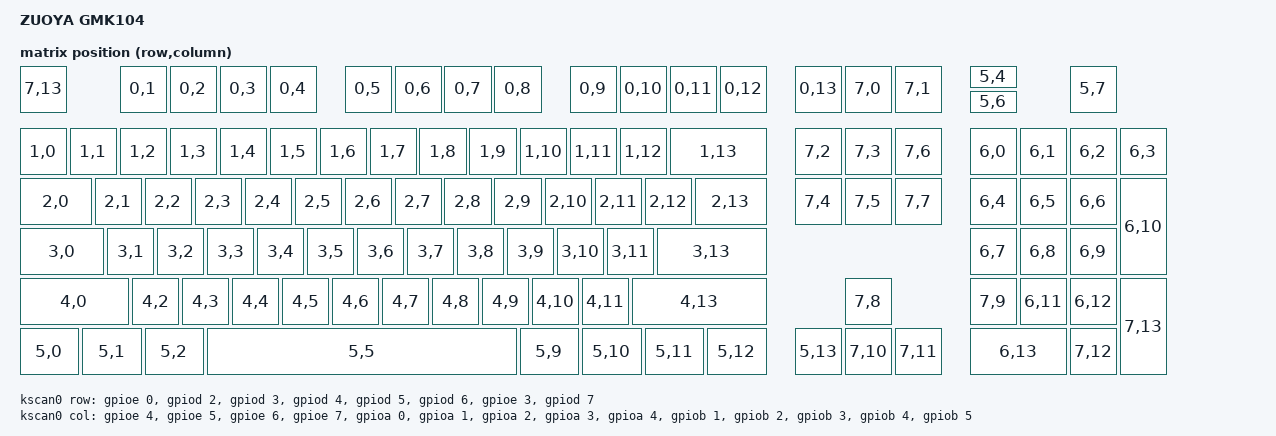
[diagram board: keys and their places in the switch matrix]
/dts-v1/;

/*
 * ZUOYA GMK104 — Telink TLSR9511 (B91) — ZMK board skeleton  [DRAFT / UNVERIFIED]
 *
 * Generated from ZUOYA-GMK104-USB.json by tools/gen_board.py. This reuses the
 * Evision/B91 platform wiring proven on scholzri/rainy75-zmk (Apache-2.0). Build
 * it inside a fork of rainy75-zmk that provides the B91 drivers, open BLE
 * controller, telink HAL + patches, and the rainy_rgb engine.
 *
 *   VERIFIED  : matrix transform + physical layout (from the VIA definition),
 *               column GPIOs (Evision platform constant), all 8 ROW GPIOs
 *               (confirmed in the stock firmware disassembly), SoC/flash/USB/BLE.
 *   TODO/PROBE: the RGB chain-length, and the duplicated matrix cell RC(7,13)
 *               (see keymap). See BOARD-README.md.
 */

#include <freq.h>
#include <telink/telink_b91.dtsi>
#include <zephyr/dt-bindings/gpio/gpio.h>
#include <dt-bindings/zmk/matrix_transform.h>
#include <dt-bindings/led/led.h>
#include <physical_layouts.dtsi>

/ {
	model = "ZUOYA GMK104";
	compatible = "zuoya,gmk104";

	aliases { watchdog0 = &wdt0; };

	chosen {
		zephyr,sram = &ram_dlm;
		zephyr,flash = &flash;
		zephyr,flash-controller = &flash_mspi;
		zephyr,code-partition = &slot0_partition;
		zephyr,bt-hci = &bt_hci;
		zmk,battery = &battery;
		zmk,underglow = &led_strip;
		zmk,kscan = &kscan0;
		zmk,physical-layout = &gmk104_layout;
	};

	bt_hci: bt_hci { compatible = "telink,b91-bt-hci"; status = "okay"; };

	default_transform: keymap_transform_0 {
		compatible = "zmk,matrix-transform";
		columns = <14>;
		rows = <8>;
		/* physical order; RC(r,c) = electrical matrix cell from the VIA definition */
		map = <
			RC(7,13) RC(0,1) RC(0,2) RC(0,3) RC(0,4) RC(0,5) RC(0,6) RC(0,7) RC(0,8) RC(0,9) RC(0,10) RC(0,11) RC(0,12) RC(0,13) RC(7,0) RC(7,1) RC(5,4) RC(5,7)
			RC(5,6)
			RC(1,0) RC(1,1) RC(1,2) RC(1,3) RC(1,4) RC(1,5) RC(1,6) RC(1,7) RC(1,8) RC(1,9) RC(1,10) RC(1,11) RC(1,12) RC(1,13) RC(7,2) RC(7,3) RC(7,6) RC(6,0) RC(6,1) RC(6,2) RC(6,3)
			RC(2,0) RC(2,1) RC(2,2) RC(2,3) RC(2,4) RC(2,5) RC(2,6) RC(2,7) RC(2,8) RC(2,9) RC(2,10) RC(2,11) RC(2,12) RC(2,13) RC(7,4) RC(7,5) RC(7,7) RC(6,4) RC(6,5) RC(6,6) RC(6,10)
			RC(3,0) RC(3,1) RC(3,2) RC(3,3) RC(3,4) RC(3,5) RC(3,6) RC(3,7) RC(3,8) RC(3,9) RC(3,10) RC(3,11) RC(3,13) RC(6,7) RC(6,8) RC(6,9)
			RC(4,0) RC(4,2) RC(4,3) RC(4,4) RC(4,5) RC(4,6) RC(4,7) RC(4,8) RC(4,9) RC(4,10) RC(4,11) RC(4,13) RC(7,8) RC(7,9) RC(6,11) RC(6,12) RC(7,13)
			RC(5,0) RC(5,1) RC(5,2) RC(5,5) RC(5,9) RC(5,10) RC(5,11) RC(5,12) RC(5,13) RC(7,10) RC(7,11) RC(6,13) RC(7,12)
		>;
	};

	gmk104_layout: gmk104_layout {
		compatible = "zmk,physical-layout";
		display-name = "ZUOYA GMK104";
		transform = <&default_transform>;

		keys  //                     w   h    x    y     rot    rx    ry
		    = <&key_physical_attrs  100  100     0     0       0     0     0>  /* RC(7,13) */
		    , <&key_physical_attrs  100  100   200     0       0     0     0>  /* RC(0,1) */
		    , <&key_physical_attrs  100  100   300     0       0     0     0>  /* RC(0,2) */
		    , <&key_physical_attrs  100  100   400     0       0     0     0>  /* RC(0,3) */
		    , <&key_physical_attrs  100  100   500     0       0     0     0>  /* RC(0,4) */
		    , <&key_physical_attrs  100  100   650     0       0     0     0>  /* RC(0,5) */
		    , <&key_physical_attrs  100  100   750     0       0     0     0>  /* RC(0,6) */
		    , <&key_physical_attrs  100  100   850     0       0     0     0>  /* RC(0,7) */
		    , <&key_physical_attrs  100  100   950     0       0     0     0>  /* RC(0,8) */
		    , <&key_physical_attrs  100  100  1100     0       0     0     0>  /* RC(0,9) */
		    , <&key_physical_attrs  100  100  1200     0       0     0     0>  /* RC(0,10) */
		    , <&key_physical_attrs  100  100  1300     0       0     0     0>  /* RC(0,11) */
		    , <&key_physical_attrs  100  100  1400     0       0     0     0>  /* RC(0,12) */
		    , <&key_physical_attrs  100  100  1550     0       0     0     0>  /* RC(0,13) */
		    , <&key_physical_attrs  100  100  1650     0       0     0     0>  /* RC(7,0) */
		    , <&key_physical_attrs  100  100  1750     0       0     0     0>  /* RC(7,1) */
		    , <&key_physical_attrs  100   50  1900     0       0     0     0>  /* RC(5,4) */
		    , <&key_physical_attrs  100  100  2100     0       0     0     0>  /* RC(5,7) */
		    , <&key_physical_attrs  100   50  1900    50       0     0     0>  /* RC(5,6) */
		    , <&key_physical_attrs  100  100     0   125       0     0     0>  /* RC(1,0) */
		    , <&key_physical_attrs  100  100   100   125       0     0     0>  /* RC(1,1) */
		    , <&key_physical_attrs  100  100   200   125       0     0     0>  /* RC(1,2) */
		    , <&key_physical_attrs  100  100   300   125       0     0     0>  /* RC(1,3) */
		    , <&key_physical_attrs  100  100   400   125       0     0     0>  /* RC(1,4) */
		    , <&key_physical_attrs  100  100   500   125       0     0     0>  /* RC(1,5) */
		    , <&key_physical_attrs  100  100   600   125       0     0     0>  /* RC(1,6) */
		    , <&key_physical_attrs  100  100   700   125       0     0     0>  /* RC(1,7) */
		    , <&key_physical_attrs  100  100   800   125       0     0     0>  /* RC(1,8) */
		    , <&key_physical_attrs  100  100   900   125       0     0     0>  /* RC(1,9) */
		    , <&key_physical_attrs  100  100  1000   125       0     0     0>  /* RC(1,10) */
		    , <&key_physical_attrs  100  100  1100   125       0     0     0>  /* RC(1,11) */
		    , <&key_physical_attrs  100  100  1200   125       0     0     0>  /* RC(1,12) */
		    , <&key_physical_attrs  200  100  1300   125       0     0     0>  /* RC(1,13) */
		    , <&key_physical_attrs  100  100  1550   125       0     0     0>  /* RC(7,2) */
		    , <&key_physical_attrs  100  100  1650   125       0     0     0>  /* RC(7,3) */
		    , <&key_physical_attrs  100  100  1750   125       0     0     0>  /* RC(7,6) */
		    , <&key_physical_attrs  100  100  1900   125       0     0     0>  /* RC(6,0) */
		    , <&key_physical_attrs  100  100  2000   125       0     0     0>  /* RC(6,1) */
		    , <&key_physical_attrs  100  100  2100   125       0     0     0>  /* RC(6,2) */
		    , <&key_physical_attrs  100  100  2200   125       0     0     0>  /* RC(6,3) */
		    , <&key_physical_attrs  150  100     0   225       0     0     0>  /* RC(2,0) */
		    , <&key_physical_attrs  100  100   150   225       0     0     0>  /* RC(2,1) */
		    , <&key_physical_attrs  100  100   250   225       0     0     0>  /* RC(2,2) */
		    , <&key_physical_attrs  100  100   350   225       0     0     0>  /* RC(2,3) */
		    , <&key_physical_attrs  100  100   450   225       0     0     0>  /* RC(2,4) */
		    , <&key_physical_attrs  100  100   550   225       0     0     0>  /* RC(2,5) */
		    , <&key_physical_attrs  100  100   650   225       0     0     0>  /* RC(2,6) */
		    , <&key_physical_attrs  100  100   750   225       0     0     0>  /* RC(2,7) */
		    , <&key_physical_attrs  100  100   850   225       0     0     0>  /* RC(2,8) */
		    , <&key_physical_attrs  100  100   950   225       0     0     0>  /* RC(2,9) */
		    , <&key_physical_attrs  100  100  1050   225       0     0     0>  /* RC(2,10) */
		    , <&key_physical_attrs  100  100  1150   225       0     0     0>  /* RC(2,11) */
		    , <&key_physical_attrs  100  100  1250   225       0     0     0>  /* RC(2,12) */
		    , <&key_physical_attrs  150  100  1350   225       0     0     0>  /* RC(2,13) */
		    , <&key_physical_attrs  100  100  1550   225       0     0     0>  /* RC(7,4) */
		    , <&key_physical_attrs  100  100  1650   225       0     0     0>  /* RC(7,5) */
		    , <&key_physical_attrs  100  100  1750   225       0     0     0>  /* RC(7,7) */
		    , <&key_physical_attrs  100  100  1900   225       0     0     0>  /* RC(6,4) */
		    , <&key_physical_attrs  100  100  2000   225       0     0     0>  /* RC(6,5) */
		    , <&key_physical_attrs  100  100  2100   225       0     0     0>  /* RC(6,6) */
		    , <&key_physical_attrs  100  200  2200   225       0     0     0>  /* RC(6,10) */
		    , <&key_physical_attrs  175  100     0   325       0     0     0>  /* RC(3,0) */
		    , <&key_physical_attrs  100  100   175   325       0     0     0>  /* RC(3,1) */
		    , <&key_physical_attrs  100  100   275   325       0     0     0>  /* RC(3,2) */
		    , <&key_physical_attrs  100  100   375   325       0     0     0>  /* RC(3,3) */
		    , <&key_physical_attrs  100  100   475   325       0     0     0>  /* RC(3,4) */
		    , <&key_physical_attrs  100  100   575   325       0     0     0>  /* RC(3,5) */
		    , <&key_physical_attrs  100  100   675   325       0     0     0>  /* RC(3,6) */
		    , <&key_physical_attrs  100  100   775   325       0     0     0>  /* RC(3,7) */
		    , <&key_physical_attrs  100  100   875   325       0     0     0>  /* RC(3,8) */
		    , <&key_physical_attrs  100  100   975   325       0     0     0>  /* RC(3,9) */
		    , <&key_physical_attrs  100  100  1075   325       0     0     0>  /* RC(3,10) */
		    , <&key_physical_attrs  100  100  1175   325       0     0     0>  /* RC(3,11) */
		    , <&key_physical_attrs  225  100  1275   325       0     0     0>  /* RC(3,13) */
		    , <&key_physical_attrs  100  100  1900   325       0     0     0>  /* RC(6,7) */
		    , <&key_physical_attrs  100  100  2000   325       0     0     0>  /* RC(6,8) */
		    , <&key_physical_attrs  100  100  2100   325       0     0     0>  /* RC(6,9) */
		    , <&key_physical_attrs  225  100     0   425       0     0     0>  /* RC(4,0) */
		    , <&key_physical_attrs  100  100   225   425       0     0     0>  /* RC(4,2) */
		    , <&key_physical_attrs  100  100   325   425       0     0     0>  /* RC(4,3) */
		    , <&key_physical_attrs  100  100   425   425       0     0     0>  /* RC(4,4) */
		    , <&key_physical_attrs  100  100   525   425       0     0     0>  /* RC(4,5) */
		    , <&key_physical_attrs  100  100   625   425       0     0     0>  /* RC(4,6) */
		    , <&key_physical_attrs  100  100   725   425       0     0     0>  /* RC(4,7) */
		    , <&key_physical_attrs  100  100   825   425       0     0     0>  /* RC(4,8) */
		    , <&key_physical_attrs  100  100   925   425       0     0     0>  /* RC(4,9) */
		    , <&key_physical_attrs  100  100  1025   425       0     0     0>  /* RC(4,10) */
		    , <&key_physical_attrs  100  100  1125   425       0     0     0>  /* RC(4,11) */
		    , <&key_physical_attrs  275  100  1225   425       0     0     0>  /* RC(4,13) */
		    , <&key_physical_attrs  100  100  1650   425       0     0     0>  /* RC(7,8) */
		    , <&key_physical_attrs  100  100  1900   425       0     0     0>  /* RC(7,9) */
		    , <&key_physical_attrs  100  100  2000   425       0     0     0>  /* RC(6,11) */
		    , <&key_physical_attrs  100  100  2100   425       0     0     0>  /* RC(6,12) */
		    , <&key_physical_attrs  100  200  2200   425       0     0     0>  /* RC(7,13) */
		    , <&key_physical_attrs  125  100     0   525       0     0     0>  /* RC(5,0) */
		    , <&key_physical_attrs  125  100   125   525       0     0     0>  /* RC(5,1) */
		    , <&key_physical_attrs  125  100   250   525       0     0     0>  /* RC(5,2) */
		    , <&key_physical_attrs  625  100   375   525       0     0     0>  /* RC(5,5) */
		    , <&key_physical_attrs  125  100  1000   525       0     0     0>  /* RC(5,9) */
		    , <&key_physical_attrs  125  100  1125   525       0     0     0>  /* RC(5,10) */
		    , <&key_physical_attrs  125  100  1250   525       0     0     0>  /* RC(5,11) */
		    , <&key_physical_attrs  125  100  1375   525       0     0     0>  /* RC(5,12) */
		    , <&key_physical_attrs  100  100  1550   525       0     0     0>  /* RC(5,13) */
		    , <&key_physical_attrs  100  100  1650   525       0     0     0>  /* RC(7,10) */
		    , <&key_physical_attrs  100  100  1750   525       0     0     0>  /* RC(7,11) */
		    , <&key_physical_attrs  200  100  1900   525       0     0     0>  /* RC(6,13) */
		    , <&key_physical_attrs  100  100  2100   525       0     0     0>  /* RC(7,12) */
		    ;
	};

	zephyr_udc0: usbd@80100800 {
		compatible = "telink,b91-usbd";
		reg = <0x80100800 0x400>;
		interrupt-parent = <&plic0>;
		interrupts = <11 2>;
		num-bidir-endpoints = <8>;
		status = "okay";
	};

	kscan0: kscan {
		compatible = "zmk,kscan-gpio-matrix";
		diode-direction = "col2row";
		wakeup-source;
		debounce-press-ms = <1>;

		/* COLUMNS (14) — Evision TLSR9511 platform order (same as rainy75,
		 * taking the first 14 of PE4-7 / PA0-4 / PB1-6). Verify on hardware. */
		col-gpios
			= <&gpioe 4 GPIO_ACTIVE_LOW>
			, <&gpioe 5 GPIO_ACTIVE_LOW>
			, <&gpioe 6 GPIO_ACTIVE_LOW>
			, <&gpioe 7 GPIO_ACTIVE_LOW>
			, <&gpioa 0 GPIO_ACTIVE_LOW>
			, <&gpioa 1 GPIO_ACTIVE_LOW>
			, <&gpioa 2 GPIO_ACTIVE_LOW>
			, <&gpioa 3 GPIO_ACTIVE_LOW>
			, <&gpioa 4 GPIO_ACTIVE_LOW>
			, <&gpiob 1 GPIO_ACTIVE_LOW>
			, <&gpiob 2 GPIO_ACTIVE_LOW>
			, <&gpiob 3 GPIO_ACTIVE_LOW>
			, <&gpiob 4 GPIO_ACTIVE_LOW>
			, <&gpiob 5 GPIO_ACTIVE_LOW>
			;

		/* ROWS (8) — all confirmed in the stock firmware's matrix scan
		 * (disassembly: PE0 + PD2-6 = rows 0-5; PE3 read @0x20008f48 = row 6;
		 *  PD7 read @0x2000d0d0 = row 7). Order matches the Evision platform. */
		row-gpios
			= <&gpioe 0 (GPIO_ACTIVE_LOW | GPIO_PULL_UP)>   /* row 0 = PE0 */
			, <&gpiod 2 (GPIO_ACTIVE_LOW | GPIO_PULL_UP)>   /* row 1 = PD2 */
			, <&gpiod 3 (GPIO_ACTIVE_LOW | GPIO_PULL_UP)>   /* row 2 = PD3 */
			, <&gpiod 4 (GPIO_ACTIVE_LOW | GPIO_PULL_UP)>   /* row 3 = PD4 */
			, <&gpiod 5 (GPIO_ACTIVE_LOW | GPIO_PULL_UP)>   /* row 4 = PD5 */
			, <&gpiod 6 (GPIO_ACTIVE_LOW | GPIO_PULL_UP)>   /* row 5 = PD6 */
			, <&gpioe 3 (GPIO_ACTIVE_LOW | GPIO_PULL_UP)>   /* row 6 = PE3 (fw-confirmed) */
			, <&gpiod 7 (GPIO_ACTIVE_LOW | GPIO_PULL_UP)>   /* row 7 = PD7 (fw-confirmed) */
			;
	};

	battery: battery-adc {
		compatible = "telink,b91-battery-adc";
		adc-channel = <0x0A>;  /* PD1 on rainy75 — verify on GMK104 */
		divider-numerator = <1>;
		divider-denominator = <2>;
		full-mv = <4200>;
		empty-mv = <3300>;
		status = "okay";
	};

	led_strip: ws2812 {
		compatible = "telink,b91-spi-led-strip";
		/* Per-key WS2812 LEDs. Layout = 105 switch positions (107 keys - 2 encoder
		 * halves); owner counted >=103 physically. 105 is safe-high; trim by 1-2 at
		 * RGB bring-up if the last keys misalign. No separate underglow strip. */
		chain-length = <105>;
		color-mapping = <LED_COLOR_ID_GREEN LED_COLOR_ID_RED LED_COLOR_ID_BLUE>;
	};

	wdt0: watchdog@80140140 { compatible = "telink,b91-watchdog"; reg = <0x80140140 0x20>; status = "okay"; };
};

&cpu0 { clock-frequency = <DT_FREQ_M(48)>; };
&ram_ilm { reg = <0x00000000 0x00020000>; };
&ram_dlm { reg = <0x00080000 0x00020000>; };

&flash {
	reg = <0x20000000 0x100000>;
	partitions {
		compatible = "fixed-partitions";
		#address-cells = <1>;
		#size-cells = <1>;
		boot_partition:    partition@0     { label = "mcuboot"; reg = <0x0 0x10000>; };
		slot0_partition:   partition@10000 { label = "image-0"; reg = <0x10000 0x70000>; };
		slot1_partition:   partition@80000 { label = "image-1"; reg = <0x80000 0x70000>; };
		storage_partition: partition@f0000 { label = "storage"; reg = <0xf0000 0xe000>; };
		/* 0xFE000 calibration + 0xFF000 BLE MAC preserved — do NOT map */
	};
};

&pinctrl { pad-mul-sel = <1>; };
&gpioa { status = "okay"; };
&gpiob { status = "okay"; };
&gpioc { status = "okay"; };
&gpiod { status = "okay"; interrupts = <25 1>; };
&gpioe { status = "okay"; interrupts = <27 1>; };
&mtimer { interrupts-extended = <&hlic 7>; };
